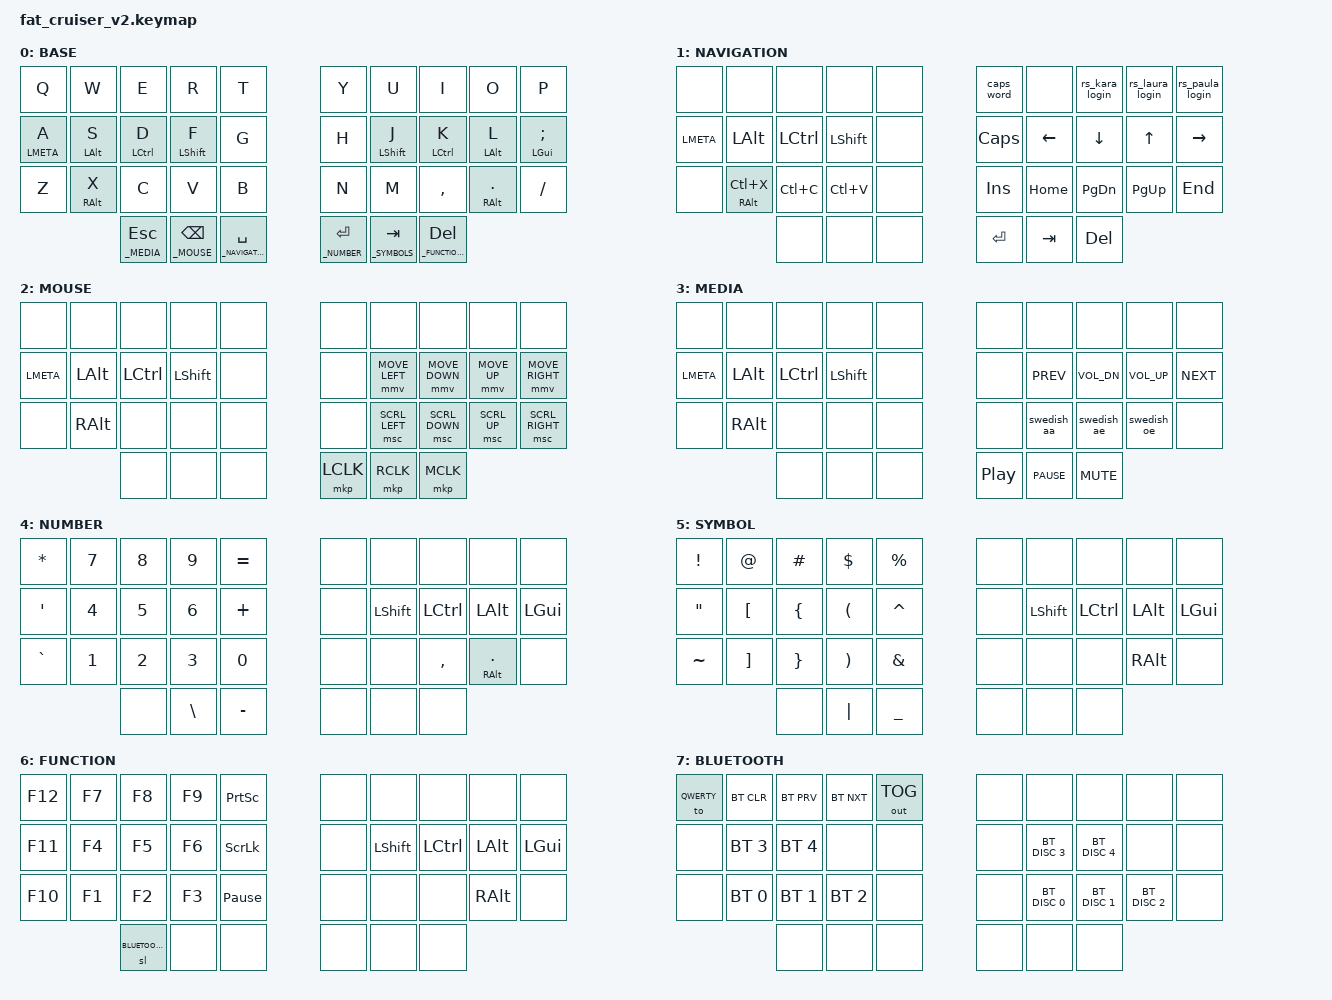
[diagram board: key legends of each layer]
#include <behaviors.dtsi>
#include <dt-bindings/zmk/keys.h> // &kp, &mt, &lt, &none
#include <dt-bindings/zmk/bt.h> // &bt BT_SEL, &bt BT_CLR
#include <dt-bindings/zmk/pointing.h> // &mmv, &mkp
#include <dt-bindings/zmk/outputs.h> // &out: Toggle between USB and BLE


// Layer definitions
#define _QWERTY 0
#define _NAVIGATION 1
#define _MOUSE 2
#define _MEDIA 3
#define _NUMBER 4
#define _SYMBOLS 5
#define _FUNCTION_KEYS 6
#define _BLUETOOTH 7
#define _GAMING 8
#define _GAMING_UTIL 9

// Tapping configuration
#define TAPPING_TERM 300
#define QUICK_TAP 175
#define PRIOR_IDLE 150

// Pointing device configuration
#define ZMK_POINTING_DEFAULT_MOVE_VAL 1000 // default: 600
#define ZMK_POINTING_DEFAULT_SCROLL_VAL 10 // default: 10

&mmv {
    x-input-code = <INPUT_REL_X>;
    y-input-code = <INPUT_REL_Y>;
    time-to-max-speed-ms = <500>;
    acceleration-exponent = <1>;
};

&caps_word {
    // Define custom behavior for Caps Word to continue on specific keys
    continue-list = <UNDERSCORE MINUS BACKSPACE DELETE>;
};

&lt {
    tapping-term-ms = <TAPPING_TERM>;
    quick-tap-ms = <QUICK_TAP>;
};

&mt {
    flavor = "balanced";
    tapping-term-ms = <TAPPING_TERM>;
    quick-tap-ms = <QUICK_TAP>;
    require-prior-idle-ms = <PRIOR_IDLE>;  // Critical for fast typing/roll-over
};

/ {
    macros {
        swedish_ae: swedish_ae {
            compatible = "zmk,behavior-macro";
            wait-ms = <30>;
            tap-ms = <30>;
            #binding-cells = <0>;
            bindings
                = <&macro_press &kp RALT>
                , <&macro_tap &kp Q>
                , <&macro_release &kp RALT>
                ;
        };
        swedish_aa: swedish_aa {
            compatible = "zmk,behavior-macro";
            wait-ms = <30>;
            tap-ms = <30>;
            #binding-cells = <0>;
            bindings
                = <&macro_press &kp RALT>
                , <&macro_tap &kp W>
                , <&macro_release &kp RALT>
                ;
        };
        swedish_oe: swedish_oe {
            compatible = "zmk,behavior-macro";
            wait-ms = <30>;
            tap-ms = <30>;
            #binding-cells = <0>;
            bindings
                = <&macro_press &kp RALT>
                , <&macro_tap &kp P>
                , <&macro_release &kp RALT>
                ;
        };
        rs_kara_login: rs_kara_login {
            compatible = "zmk,behavior-macro";
            wait-ms = <30>;
            tap-ms = <30>;
            #binding-cells = <0>;
            bindings
                = <&macro_press &kp LSHFT>
                , <&macro_tap &kp TAB>
                , <&macro_release &kp LSHFT>
                , <&macro_tap &kp K &kp A &kp R &kp A>
                , <&macro_tap &kp TAB>
                , <&macro_tap &kp N1 &kp N1 &kp N1 &kp N1 &kp N1 &kp N1>
                ;
        };
        rs_laura_login: rs_laura_login {
            compatible = "zmk,behavior-macro";
            wait-ms = <30>;
            tap-ms = <30>;
            #binding-cells = <0>;
            bindings
                = <&macro_press &kp LSHFT>
                , <&macro_tap &kp TAB>
                , <&macro_release &kp LSHFT>
                , <&macro_tap &kp L &kp A &kp U &kp R &kp A>
                , <&macro_tap &kp TAB>
                , <&macro_tap &kp N1 &kp N1 &kp N1 &kp N1 &kp N1 &kp N1>
                ;
        };
        rs_paula_login: rs_paula_login {
            compatible = "zmk,behavior-macro";
            wait-ms = <30>;
            tap-ms = <30>;
            #binding-cells = <0>;
            bindings
                = <&macro_press &kp LSHFT>
                , <&macro_tap &kp TAB>
                , <&macro_release &kp LSHFT>
                , <&macro_tap &kp P &kp A &kp U &kp L &kp A>
                , <&macro_tap &kp TAB>
                , <&macro_tap &kp N1 &kp N1 &kp N1 &kp N1 &kp N1 &kp N1>
                ;
        };
    };
};

/ {
    keymap {
        compatible = "zmk,keymap";

        /*  fat_cruiser v2 layout
         * ┌───┬───┬───┬───┬───┐   ┌───┬───┬───┬───┬───┐
         * │ Q │ W │ E │ R │ T │   │ Y │ U │ I │ O │ P │
         * ├───┼───┼───┼───┼───┤   ├───┼───┼───┼───┼───┤
         * │ A │ S │ D │ F │ G │   │ H │ J │ K │ L │ ; │
         * ├───┼───┼───┼───┼───┤   ├───┼───┼───┼───┼───┤
         * │ Z │ X │ C │ V │ B │   │ N │ M │ , │ . │ / │
         * └───┴───┼───┼───┼───┤   ├───┼───┼───┼───┴───┘
         *         │Esc│Bsc│Spc│   │Ent│Tab│Del│
         *         └───┴───┴───┘   └───┴───┴───┘
         */
         // Look up timeless home row mods: https://zmk.dev/docs/keymaps/behaviors/hold-tap?examples=home_row_mods
        default_layer {
            display-name = "BASE";
            bindings = <
&kp Q       &kp W      &kp E          &kp R           &kp T                 /**/ &kp Y             &kp U                 &kp I       &kp O        &kp P
&mt LMETA A &mt LALT S &mt LCTRL D    &mt LSHIFT F    &kp G                 /**/ &kp H             &mt LSHIFT J          &mt LCTRL K &mt LALT L   &mt LGUI SEMICOLON
&kp Z       &mt RALT X &kp C          &kp V           &kp B                 /**/ &kp N             &kp M                 &kp COMMA   &mt RALT DOT &kp SLASH
                       &lt _MEDIA ESC &lt _MOUSE BSPC &lt _NAVIGATION SPACE /**/ &lt _NUMBER ENTER &lt _SYMBOLS TAB      &lt _FUNCTION_KEYS DEL
            >;
        };

        navigation_layer {
            display-name = "NAVIGATION";
            bindings = <
&none       &none          &none     &none      &none /**/ &caps_word &none    &rs_kara_login &rs_laura_login &rs_paula_login
&kp LMETA   &kp LALT       &kp LCTRL &kp LSHIFT &none /**/ &kp CAPS   &kp LEFT &kp DOWN       &kp UP          &kp RIGHT
&none       &mt RALT LC(X) &kp LC(C) &kp LC(V)  &none /**/ &kp INS    &kp HOME &kp PG_DN      &kp PG_UP       &kp END
                           &none     &none      &none /**/ &kp ENTER  &kp TAB  &kp DEL
            >;
        };

       /*  // https://zmk.dev/docs/keymaps/behaviors/mouse-emulation */
        mouse_layer {
            display-name = "MOUSE";
            bindings = <
&none     &none    &none     &none      &none /**/ &none     &none          &none          &none        &none
&kp LMETA &kp LALT &kp LCTRL &kp LSHIFT &none /**/ &none     &mmv MOVE_LEFT &mmv MOVE_DOWN &mmv MOVE_UP &mmv MOVE_RIGHT
&none     &kp RALT &none     &none      &none /**/ &none     &msc SCRL_LEFT &msc SCRL_DOWN &msc SCRL_UP &msc SCRL_RIGHT
                   &none     &none      &none /**/ &mkp LCLK &mkp RCLK      &mkp MCLK
            >;
        };

        media_layer {
            display-name = "MEDIA";
            bindings = <
&none     &none    &none     &none      &none /**/ &none             &none       &none        &none        &none
&kp LMETA &kp LALT &kp LCTRL &kp LSHIFT &none /**/ &none             &kp C_PREV  &kp C_VOL_DN &kp C_VOL_UP &kp C_NEXT
&none     &kp RALT &none     &none      &none /**/ &none             &swedish_aa &swedish_ae   &swedish_oe    &none
                   &none     &none      &none /**/ &kp C_PLAY_PAUSE  &kp C_PAUSE &kp C_MUTE
            >;
        };

        number_layer {
            display-name = "NUMBER";
            bindings = <
&kp ASTERISK     &kp N7 &kp N8 &kp N9        &kp EQUAL  /**/ &none &none      &none     &none        &none
&kp SINGLE_QUOTE &kp N4 &kp N5 &kp N6        &kp PLUS   /**/ &none &kp LSHIFT &kp LCTRL &kp LALT     &kp LGUI
&kp GRAVE        &kp N1 &kp N2 &kp N3        &kp N0     /**/ &none &none      &kp COMMA &mt RALT DOT &none
                        &none  &kp BACKSLASH &kp MINUS  /**/ &none &none      &none
            >;
        };

        symbols_layer {
            display-name = "SYMBOL";
            bindings = <
&kp EXCLAMATION   &kp AT   &kp HASH &kp DOLLAR &kp PERCENT /**/ &none &none      &none     &none    &none
&kp DOUBLE_QUOTES &kp LBKT &kp LBRC &kp LPAR   &kp CARET   /**/ &none &kp LSHIFT &kp LCTRL &kp LALT &kp LGUI
&kp TILDE         &kp RBKT &kp RBRC &kp RPAR   &kp AMPS    /**/ &none &none      &none     &kp RALT &none
                           &none    &kp PIPE   &kp UNDER   /**/ &none &none      &none
            >;
        };

        function_keys_layer {
            display-name = "FUNCTION";
            bindings = <
&kp F12 &kp F7 &kp F8         &kp F9 &kp PRINTSCREEN /**/ &none &none      &none     &none    &none
&kp F11 &kp F4 &kp F5         &kp F6 &kp SCROLLLOCK  /**/ &none &kp LSHIFT &kp LCTRL &kp LALT &kp LGUI
&kp F10 &kp F1 &kp F2         &kp F3 &kp PAUSE_BREAK /**/ &none &none      &none     &kp RALT &none
               &sl _BLUETOOTH &none  &none           /**/ &none &none      &none
            >;
        };

        bluetooth_layer {
            display-name = "BLUETOOTH";
            bindings = <
&to _QWERTY &bt BT_CLR   &bt BT_PRV   &bt BT_NXT   &out OUT_TOG /**/ &none &none         &none         &none         &none
&none       &bt BT_SEL 3 &bt BT_SEL 4 &none        &none        /**/ &none &bt BT_DISC 3 &bt BT_DISC 4 &none         &none
&none       &bt BT_SEL 0 &bt BT_SEL 1 &bt BT_SEL 2 &none        /**/ &none &bt BT_DISC 0 &bt BT_DISC 1 &bt BT_DISC 2 &none
                         &none        &none        &none        /**/ &none &none         &none
            >;
        };


       /**/
       /*  gaming_layer { */
       /*      display-name = "GAME"; */
       /*      bindings = < */
       /*          &none     &none     &none       &none       &none */
       /*          &none     &none     &none       &none       &none */
       /*      >; */
       /*  }; */
       /**/
       /*  gaming_util_layer { */
       /*      display-name = "G-UTIL"; */
       /*      bindings = < */
       /*          &none     &none     &none       &none       &none */
       /*          &none     &none     &none       &none       &none */
       /*      >; */
       /*  }; */
       /**/
       /*  bluetooth_layer { */
       /*      display-name = "BT"; */
       /*      bindings = < */
       /*          &bt BT_CLR_ALL     &bt BT_CLR     &none     &none     &out OUT_TOG */
       /*          &bt BT_SEL 0 &bt BT_SEL 1     &bt BT_SEL 2     &bt BT_SEL 3     &bt BT_SEL 4 */
       /*      >; */
       /*  }; */
    };
};
